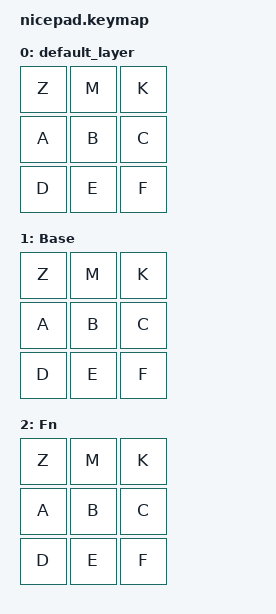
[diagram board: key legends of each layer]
// This file was generated from a template. Edit it to match your keyboard.
// See https://zmk.dev/docs/development/hardware-integration/new-shield for more instructions.

#include <behaviors.dtsi>
#include <dt-bindings/zmk/keys.h>

/ {
    // Define a default keymap here.
    // See https://zmk.dev/docs/development/hardware-integration/new-shield#default-keymap.
    keymap {
        compatible = "zmk,keymap";

        default_layer {
            bindings = <
                &kp Z    &kp M    &kp K
                &kp A    &kp B    &kp C
                &kp D    &kp E    &kp F
            >;
        };
        base {
            display-name = "Base";
            bindings = <
                &kp Z    &kp M    &kp K
                &kp A    &kp B    &kp C
                &kp D    &kp E    &kp F
            >;
        };

        fn_layer {
            display-name = "Fn";
            bindings = <
                &kp Z    &kp M    &kp K
                &kp A    &kp B    &kp C
                &kp D    &kp E    &kp F
            >;
        };

        extra1 {
            status = "reserved";
        };

        extra2 {
            status = "reserved";
        };
        sensor-bindings = <&inc_dec_kp C_VOL_UP C_VOL_DN>;
    };
};
